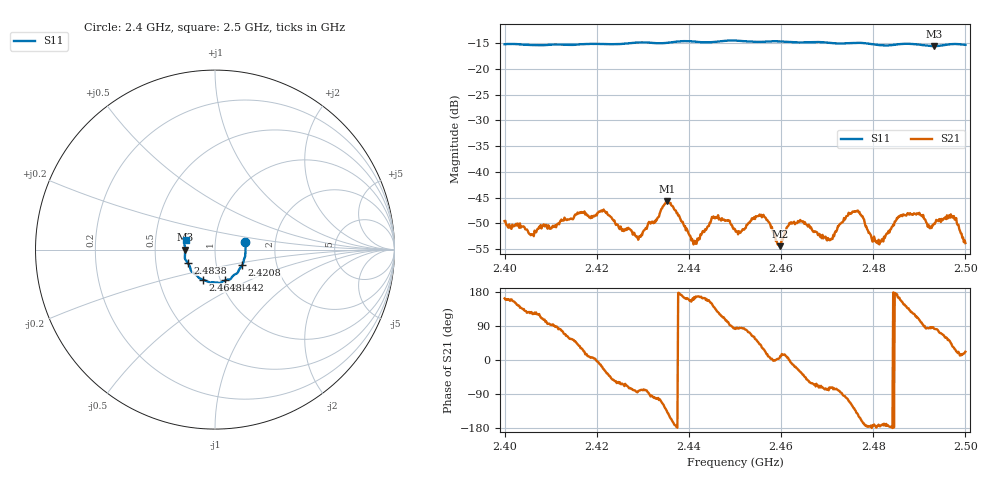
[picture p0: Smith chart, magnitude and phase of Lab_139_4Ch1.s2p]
# Hz S RI R 50
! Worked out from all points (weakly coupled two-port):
!   601 points, 2.4 GHz to 2.5 GHz, reference 50 ohm
!   highest |S21| = -45.73 dB at 2.4352 GHz (marker M1); lowest = -54.4 dB at 2.4598 GHz (marker M2)
!   lowest |S11| = -15.6 dB at 2.4932 GHz (marker M3), VSWR 1.40, Z = 35.8 - j0.081 ohm
!   |S11| at or under -10 dB: start of sweep to end of sweep
!   S12 and S22 are empty: the file has one direction only
!   S11 on the Smith chart (normalised r, x): 2.4 GHz: 1.40, +0.12; 2.4208 GHz: 1.33, -0.24; 2.4442 GHz: 1.05, -0.37; 2.4648 GHz: 0.83, -0.29; 2.4838 GHz: 0.73, -0.11; 2.5 GHz: 0.72, +0.08
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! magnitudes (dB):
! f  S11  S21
! 2.4 GHz  -15.2  -49.5
! 2.4058 GHz  -15.4  -52.1
! 2.4167 GHz  -15.2  -47.8
! 2.4208 GHz  -15.2  -47.6
! 2.429 GHz  -14.9  -53.2
! 2.4333 GHz  -15.0  -48.8
! 2.4352 GHz  -15.0  -45.7
! 2.4412 GHz  -14.7  -53.4
! 2.4442 GHz  -14.9  -50.5
! 2.45 GHz  -14.5  -51.1
! 2.4558 GHz  -14.8  -48.8
! 2.4598 GHz  -14.7  -54.4
! 2.4648 GHz  -14.9  -49.6
! 2.4667 GHz  -14.8  -51.1
! 2.4707 GHz  -15.0  -53.2
! 2.4762 GHz  -15.0  -47.6
! 2.4802 GHz  -15.3  -52.6
! 2.4833 GHz  -15.5  -51.5
! 2.4838 GHz  -15.4  -51.1
! 2.4932 GHz  -15.6  -50.1
! 2.497 GHz  -15.2  -48.6
! 2.5 GHz  -15.4  -53.8
